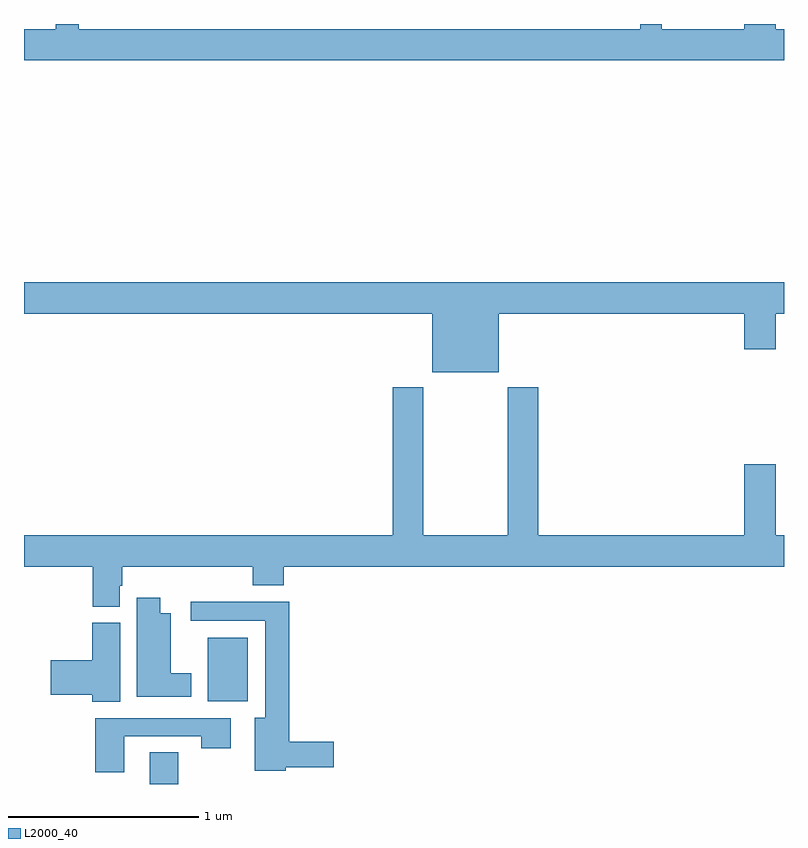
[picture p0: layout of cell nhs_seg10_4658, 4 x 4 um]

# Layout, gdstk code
import gdstk
lib = gdstk.Library(unit=1e-6, precision=1e-09)
def R(c, l, rs):  # rectangles x0, y0, x1, y1
    for r in rs: c.add(gdstk.rectangle(r[:2], r[2:], *l))
def P(c, l, *ps):  # polygons
    for p in ps: c.add(gdstk.Polygon(p, *l))
L2000_40 = (2000, 40)

nhs_seg10_4658 = lib.new_cell('nhs_seg10_4658')
R(nhs_seg10_4658, L2000_40, [(377.663,1304.5,377.811,1304.666), (377.966,1304.936,378.178,1305.271)])
P(nhs_seg10_4658, L2000_40, [(381,1308.472),(380.956,1308.472),(380.956,1308.5),(380.792,1308.5),(380.792,1308.472),(380.357,1308.472),(380.357,1308.5),(380.243,1308.5),(380.243,1308.472),(377.287,1308.472),(377.287,1308.5),(377.166,1308.5),(377.166,1308.472),(377,1308.472),(377,1308.308),(381,1308.308)],
  [(379.498,1306.976),(380.792,1306.976),(380.792,1306.788),(380.956,1306.788),(380.956,1306.976),(381,1306.976),(381,1307.14),(377,1307.14),(377,1306.976),(379.148,1306.976),(379.148,1306.667),(379.498,1306.667)],
  [(377.503,1305.543),(377.516,1305.543),(377.516,1305.644),(378.203,1305.644),(378.203,1305.545),(378.368,1305.545),(378.368,1305.644),(381,1305.644),(381,1305.808),(380.956,1305.808),(380.956,1306.183),(380.792,1306.183),(380.792,1305.808),(379.706,1305.808),(379.706,1306.588),(379.546,1306.588),(379.546,1305.808),(379.101,1305.808),(379.101,1306.588),(378.941,1306.588),(378.941,1305.808),(377,1305.808),(377,1305.644),(377.363,1305.644),(377.363,1305.433),(377.503,1305.433)],
  [(377.881,1305.082),(377.773,1305.082),(377.773,1305.4),(377.716,1305.4),(377.716,1305.481),(377.594,1305.481),(377.594,1304.96),(377.881,1304.96)],
  [(378.378,1304.588),(378.631,1304.588),(378.631,1304.723),(378.395,1304.723),(378.395,1305.458),(377.877,1305.458),(377.877,1305.36),(378.269,1305.36),(378.269,1304.848),(378.215,1304.848),(378.215,1304.57),(378.378,1304.57)],
  [(377.506,1305.348),(377.36,1305.348),(377.36,1305.152),(377.142,1305.152),(377.142,1304.969),(377.36,1304.969),(377.36,1304.932),(377.506,1304.932)],
  [(377.527,1304.751),(377.932,1304.751),(377.932,1304.688),(378.088,1304.688),(378.088,1304.847),(377.375,1304.847),(377.375,1304.562),(377.527,1304.562)])

lib.write_gds('nhs_seg10_4658.gds')
